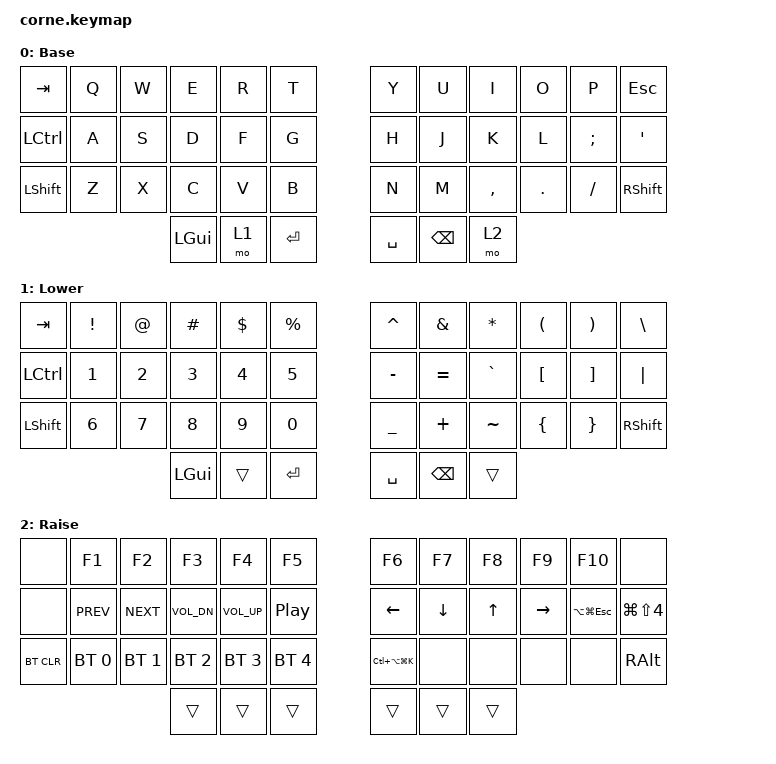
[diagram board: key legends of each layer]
/*
 * Copyright (c) 2020 The ZMK Contributors
 *
 * SPDX-License-Identifier: MIT
 *
 * Corne (crkbd) 42-key layout for nice_nano_v2.
 * macOS bindings: LGUI = Command. Right Shift on the Base bottom-right
 * corner; Option (RALT) lives on Raise at that same key.
 */

#include <behaviors.dtsi>
#include <dt-bindings/zmk/keys.h>
#include <dt-bindings/zmk/bt.h>

/ {
    keymap {
        compatible = "zmk,keymap";

        /*
         * BASE (0)
         * ,-----------------------------------------.   ,-----------------------------------------.
         * | TAB  |  Q   |  W   |  E   |  R   |  T   |   |  Y   |  U   |  I   |  O   |  P   | ESC  |
         * |------+------+------+------+------+------|   |------+------+------+------+------+------|
         * | CTRL |  A   |  S   |  D   |  F   |  G   |   |  H   |  J   |  K   |  L   |  ;   | ' "  |
         * |------+------+------+------+------+------|   |------+------+------+------+------+------|
         * | SHFT |  Z   |  X   |  C   |  V   |  B   |   |  N   |  M   |  ,   |  .   | / ?  | SHFT |
         * `--------------------+------+------+------|   |------+------+------+--------------------'
         *                      | CMD  | LWR  | ENT  |   | SPC  | BSPC | RSE  |
         *                      `--------------------'   `--------------------'
         */
        default_layer {
            display-name = "Base";
            bindings = <
&kp TAB    &kp Q  &kp W  &kp E     &kp R     &kp T      &kp Y      &kp U     &kp I      &kp O    &kp P     &kp ESC
&kp LCTRL  &kp A  &kp S  &kp D     &kp F     &kp G      &kp H      &kp J     &kp K      &kp L    &kp SEMI  &kp SQT
&kp LSHFT  &kp Z  &kp X  &kp C     &kp V     &kp B      &kp N      &kp M     &kp COMMA  &kp DOT  &kp FSLH  &kp RSHFT
                         &kp LGUI  &mo 1     &kp RET    &kp SPACE  &kp BSPC  &mo 2
            >;
        };

        /*
         * LOWER (1) — symbols on top, numbers on home row
         * ,-----------------------------------------.   ,-----------------------------------------.
         * | TAB  |  !   |  @   |  #   |  $   |  %   |   |  ^   |  &   |  *   |  (   |  )   |  \   |
         * |------+------+------+------+------+------|   |------+------+------+------+------+------|
         * | CTRL |  1   |  2   |  3   |  4   |  5   |   |  -   |  =   |  `   |  [   |  ]   |  |   |
         * |------+------+------+------+------+------|   |------+------+------+------+------+------|
         * | SHFT |  6   |  7   |  8   |  9   |  0   |   |  _   |  +   |  ~   |  {   |  }   | SHFT |
         * `--------------------+------+------+------|   |------+------+------+--------------------'
         *                      | CMD  |      | ENT  |   | SPC  | BSPC |      |
         *                      `--------------------'   `--------------------'
         */
        lower_layer {
            display-name = "Lower";
            bindings = <
&kp TAB    &kp EXCL  &kp AT  &kp HASH  &kp DLLR  &kp PRCNT    &kp CARET  &kp AMPS   &kp ASTRK  &kp LPAR  &kp RPAR  &kp BSLH
&kp LCTRL  &kp N1    &kp N2  &kp N3    &kp N4    &kp N5       &kp MINUS  &kp EQUAL  &kp GRAVE  &kp LBKT  &kp RBKT  &kp PIPE
&kp LSHFT  &kp N6    &kp N7  &kp N8    &kp N9    &kp N0       &kp UNDER  &kp PLUS   &kp TILDE  &kp LBRC  &kp RBRC  &kp RSHFT
                             &kp LGUI  &trans    &kp RET      &kp SPACE  &kp BSPC   &trans
            >;
        };

        /*
         * RAISE (2) — F-keys, media, arrows, Bluetooth, macOS shortcuts
         * FQIT = Force Quit (Opt+Cmd+Esc), SS4 = Screenshot area (Cmd+Shift+4)
         * HYPK = Ctrl+Opt+Cmd+K (free hotkey for app launchers/automations)
         * OPT  = Option, same physical key as Base right Shift
         *        (hold Raise + OPT + arrows for word-by-word jumps)
         * ,-----------------------------------------.   ,-----------------------------------------.
         * |      |  F1  |  F2  |  F3  |  F4  |  F5  |   |  F6  |  F7  |  F8  |  F9  | F10  |      |
         * |------+------+------+------+------+------|   |------+------+------+------+------+------|
         * |      | PREV | NEXT | VOL- | VOL+ | PLAY |   | LEFT | DOWN |  UP  | RGHT | FQIT | SS4  |
         * |------+------+------+------+------+------|   |------+------+------+------+------+------|
         * | BTCLR| BT1  | BT2  | BT3  | BT4  | BT5  |   | HYPK |      |      |      |      | OPT  |
         * `--------------------+------+------+------|   |------+------+------+--------------------'
         *                      |      |      |      |   |      |      |      |
         *                      `--------------------'   `--------------------'
         */
        raise_layer {
            display-name = "Raise";
            bindings = <
&none       &kp F1        &kp F2        &kp F3        &kp F4        &kp F5        &kp F6    &kp F7    &kp F8  &kp F9     &kp F10  &none
&none       &kp C_PREV    &kp C_NEXT    &kp C_VOL_DN  &kp C_VOL_UP  &kp C_PP      &kp LEFT  &kp DOWN  &kp UP  &kp RIGHT  &kp LA(LG(ESC))  &kp LG(LS(N4))
&bt BT_CLR  &bt BT_SEL 0  &bt BT_SEL 1  &bt BT_SEL 2  &bt BT_SEL 3  &bt BT_SEL 4  &kp LC(LA(LG(K)))  &none  &none  &none  &none  &kp RALT
                                        &trans        &trans        &trans        &trans    &trans    &trans
            >;
        };
    };
};
